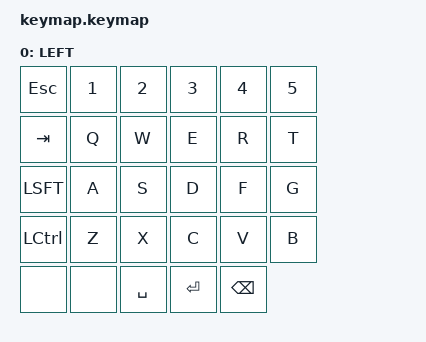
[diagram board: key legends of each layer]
#include <behaviors.dtsi>
#include <dt-bindings/zmk/keys.h>

/ {
    keymap {
        compatible = "zmk,keymap";

        default_layer {
            label = "LEFT";

            bindings = <
                // Row 0 (6 touches)
                &kp ESC   &kp 1     &kp 2     &kp 3     &kp 4     &kp 5

                // Row 1 (6 touches)
                &kp TAB   &kp Q     &kp W     &kp E     &kp R     &kp T

                // Row 2 (6 touches)
                &kp LSFT  &kp A     &kp S     &kp D     &kp F     &kp G

                // Row 3 (6 touches)
                &kp LCTRL &kp Z     &kp X     &kp C     &kp V     &kp B

                // Row 4 (6 touches — thumbs)
                &none     &none     &kp SPACE &kp RET   &kp BSPC  
            >;
        };
    };
};
